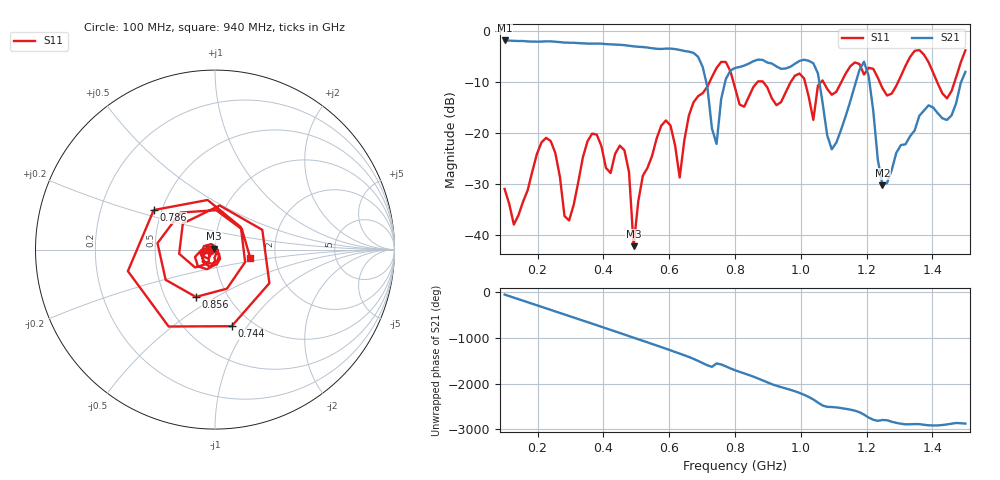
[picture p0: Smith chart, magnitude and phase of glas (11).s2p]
! NanoVNA-App
! Date: 2025-09-25 15:55:33
! Start: 100MHz Stop: 1,5GHz Points: 101
! S-Parameter data: F S11 S21 S12 S22
# Hz S RI R 50
!  Frequency  S11_Real  S11_Imag  S21_Real  S21_Imag  S12_Real  S12_Imag  S22_Real  S22_Imag
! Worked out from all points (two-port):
!   101 points, 100 MHz to 1.5 GHz, reference 50 ohm
!   highest |S21| = -1.80 dB at 100 MHz (marker M1); lowest = -30.2 dB at 1.248 GHz (marker M2)
!   |S21| within 3 dB of the highest: start of sweep to 684.1 MHz
!   lowest |S11| = -42.2 dB at 492 MHz (marker M3), VSWR 1.02, Z = 49.5 + j0.602 ohm
!   |S11| at or under -10 dB: start of sweep to 722.5 MHz; 795.4 MHz to 867.8 MHz (72.46 MHz wide, 8.71 % of centre); 886 MHz to 969.1 MHz (83.06 MHz wide, 8.95 % of centre) (the widest 3 of 7)
!   S12 and S22 are empty: the file has one direction only
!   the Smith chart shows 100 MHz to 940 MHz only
!   S11 on the Smith chart (normalised r, x): 100 MHz: 0.95, -0.01; 744 MHz: 0.81, -0.85; 786 MHz: 0.45, +0.24; 856 MHz: 0.71, -0.41; 940 MHz: 1.48, -0.14
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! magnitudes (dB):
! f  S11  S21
! 100 MHz  -31.0  -1.8
! 128 MHz  -38.0  -1.9
! 226 MHz  -20.9  -2.0
! 296 MHz  -37.2  -2.2
! 338 MHz  -24.7  -2.4
! 464 MHz  -23.4  -2.7
! 492 MHz  -42.2  -3.0
! 576 MHz  -18.5  -3.5
! 632 MHz  -28.7  -3.7
! 702 MHz  -12.1  -7.0
! 744 MHz  -7.2  -22.1
! 786 MHz  -7.8  -7.7
! 800 MHz  -11.1  -7.2
! 856 MHz  -10.9  -5.9
! 940 MHz  -13.9  -7.4
! 996 MHz  -8.3  -5.8
! 1.038 GHz  -17.4  -6.3
! 1.094 GHz  -12.5  -23.2
! 1.192 GHz  -8.5  -6.0
! 1.248 GHz  -11.2  -30.2
! 1.276 GHz  -12.2  -27.3
! 1.5 GHz  -3.7  -8.0
